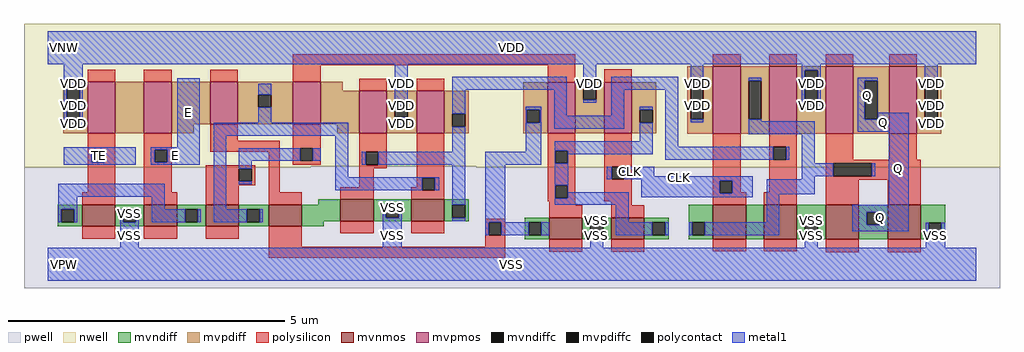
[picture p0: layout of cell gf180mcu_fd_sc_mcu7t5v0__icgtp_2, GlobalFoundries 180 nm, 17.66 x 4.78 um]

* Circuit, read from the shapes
.subckt gf180mcu_fd_sc_mcu7t5v0__icgtp_2 CLK E TE Q VDD VNW VPW VSS
XM1 VSS TE n1 VPW nfet_06v0 w=0.395u l=0.6u
XM2 n1 E VSS VPW nfet_06v0 w=0.395u l=0.6u
XM3 n2 n3 n1 VPW nfet_06v0 w=0.395u l=0.6u
XM4 n4 n5 n2 VPW nfet_06v0 w=0.395u l=0.6u
XM5 VSS n6 n4 VPW nfet_06v0 w=0.395u l=0.6u
XM6 n6 n2 VSS VPW nfet_06v0 w=0.395u l=0.6u
XM7 VSS n3 n5 VPW nfet_06v0 w=0.39u l=0.6u
XM8 n3 CLK VSS VPW nfet_06v0 w=0.39u l=0.6u
XM9 n7 CLK n8 VPW nfet_06v0 w=0.625u l=0.6u
XM10 VSS n6 n7 VPW nfet_06v0 w=0.625u l=0.6u
XM11 Q n8 VSS VPW nfet_06v0 w=0.625u l=0.6u m=2
XM12 n9 TE VDD VNW pfet_06v0 w=0.925u l=0.5u
XM13 n10 E n9 VNW pfet_06v0 w=0.925u l=0.5u
XM14 n2 n5 n10 VNW pfet_06v0 w=0.765u l=0.5u
XM15 n11 n3 n2 VNW pfet_06v0 w=0.765u l=0.5u
XM16 VDD n6 n11 VNW pfet_06v0 w=0.765u l=0.5u
XM17 n6 n2 VDD VNW pfet_06v0 w=0.765u l=0.5u
XM18 VDD n3 n5 VNW pfet_06v0 w=0.92u l=0.5u
XM19 n3 CLK VDD VNW pfet_06v0 w=0.92u l=0.5u
XM20 n8 CLK VDD VNW pfet_06v0 w=1.22u l=0.5u
XM21 VDD n6 n8 VNW pfet_06v0 w=1.22u l=0.5u
XM22 Q n8 VDD VNW pfet_06v0 w=1.22u l=0.5u m=2
.ends

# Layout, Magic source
magic
tech gf180mcuD
magscale 1 10
<< nwell >>
rect -86 355 3446 870
rect -86 352 952 355
rect 1550 352 3446 355
<< pwell >>
rect 952 352 1550 355
rect -86 -86 3446 352
<< mvnmos >>
rect 124 137 244 216
rect 348 137 468 216
rect 572 137 692 216
rect 799 137 919 216
rect 1059 156 1179 235
rect 1315 156 1435 235
rect 1815 91 1935 169
rect 2039 91 2159 169
rect 2407 91 2527 216
rect 2591 91 2711 216
rect 2815 91 2935 216
rect 3039 91 3159 216
<< mvpmos >>
rect 144 475 244 660
rect 348 475 448 660
rect 588 507 688 660
rect 887 507 987 660
rect 1127 475 1227 628
rect 1335 475 1435 628
rect 1809 475 1909 659
rect 2014 475 2114 659
rect 2407 472 2507 716
rect 2611 472 2711 716
rect 2815 472 2915 716
rect 3045 472 3145 716
<< mvndiff >>
rect 979 216 1059 235
rect 36 199 124 216
rect 36 153 49 199
rect 95 153 124 199
rect 36 137 124 153
rect 244 199 348 216
rect 244 153 273 199
rect 319 153 348 199
rect 244 137 348 153
rect 468 199 572 216
rect 468 153 497 199
rect 543 153 572 199
rect 468 137 572 153
rect 692 199 799 216
rect 692 153 721 199
rect 767 153 799 199
rect 692 137 799 153
rect 919 156 1059 216
rect 1179 215 1315 235
rect 1179 169 1224 215
rect 1270 169 1315 215
rect 1179 156 1315 169
rect 1435 215 1523 235
rect 1435 169 1464 215
rect 1510 169 1523 215
rect 1435 156 1523 169
rect 919 137 999 156
rect 1727 152 1815 169
rect 1727 106 1740 152
rect 1786 106 1815 152
rect 1727 91 1815 106
rect 1935 152 2039 169
rect 1935 106 1964 152
rect 2010 106 2039 152
rect 1935 91 2039 106
rect 2159 152 2247 169
rect 2159 106 2188 152
rect 2234 106 2247 152
rect 2159 91 2247 106
rect 2319 152 2407 216
rect 2319 106 2332 152
rect 2378 106 2407 152
rect 2319 91 2407 106
rect 2527 91 2591 216
rect 2711 150 2815 216
rect 2711 104 2740 150
rect 2786 104 2815 150
rect 2711 91 2815 104
rect 2935 189 3039 216
rect 2935 143 2964 189
rect 3010 143 3039 189
rect 2935 91 3039 143
rect 3159 150 3247 216
rect 3159 104 3188 150
rect 3234 104 3247 150
rect 3159 91 3247 104
<< mvpdiff >>
rect 56 647 144 660
rect 56 507 69 647
rect 115 507 144 647
rect 56 475 144 507
rect 244 475 348 660
rect 448 507 588 660
rect 688 614 887 660
rect 688 568 762 614
rect 808 568 887 614
rect 688 507 887 568
rect 987 628 1067 660
rect 2314 665 2407 716
rect 987 507 1127 628
rect 448 475 528 507
rect 1047 475 1127 507
rect 1227 578 1335 628
rect 1227 532 1256 578
rect 1302 532 1335 578
rect 1227 475 1335 532
rect 1435 544 1523 628
rect 1435 498 1464 544
rect 1510 498 1523 544
rect 1435 475 1523 498
rect 1721 559 1809 659
rect 1721 513 1734 559
rect 1780 513 1809 559
rect 1721 475 1809 513
rect 1909 641 2014 659
rect 1909 595 1938 641
rect 1984 595 2014 641
rect 1909 475 2014 595
rect 2114 559 2202 659
rect 2114 513 2143 559
rect 2189 513 2202 559
rect 2114 475 2202 513
rect 2314 525 2327 665
rect 2373 525 2407 665
rect 2314 472 2407 525
rect 2507 665 2611 716
rect 2507 525 2536 665
rect 2582 525 2611 665
rect 2507 472 2611 525
rect 2711 703 2815 716
rect 2711 563 2740 703
rect 2786 563 2815 703
rect 2711 472 2815 563
rect 2915 665 3045 716
rect 2915 525 2957 665
rect 3003 525 3045 665
rect 2915 472 3045 525
rect 3145 665 3233 716
rect 3145 525 3174 665
rect 3220 525 3233 665
rect 3145 472 3233 525
<< mvndiffc >>
rect 49 153 95 199
rect 273 153 319 199
rect 497 153 543 199
rect 721 153 767 199
rect 1224 169 1270 215
rect 1464 169 1510 215
rect 1740 106 1786 152
rect 1964 106 2010 152
rect 2188 106 2234 152
rect 2332 106 2378 152
rect 2740 104 2786 150
rect 2964 143 3010 189
rect 3188 104 3234 150
<< mvpdiffc >>
rect 69 507 115 647
rect 762 568 808 614
rect 1256 532 1302 578
rect 1464 498 1510 544
rect 1734 513 1780 559
rect 1938 595 1984 641
rect 2143 513 2189 559
rect 2327 525 2373 665
rect 2536 525 2582 665
rect 2740 563 2786 703
rect 2957 525 3003 665
rect 3174 525 3220 665
<< polysilicon >>
rect 887 720 1909 760
rect 144 660 244 704
rect 348 660 448 704
rect 588 660 688 704
rect 887 660 987 720
rect 1127 628 1227 672
rect 1335 628 1435 672
rect 1809 659 1909 720
rect 2407 716 2507 760
rect 2611 716 2711 760
rect 2815 716 2915 760
rect 3045 716 3145 760
rect 2014 659 2114 706
rect 144 415 244 475
rect 144 369 159 415
rect 205 369 244 415
rect 144 260 244 369
rect 124 216 244 260
rect 348 415 448 475
rect 348 369 387 415
rect 433 369 448 415
rect 588 447 688 507
rect 588 407 839 447
rect 348 260 448 369
rect 572 346 751 359
rect 572 300 692 346
rect 738 300 751 346
rect 572 287 751 300
rect 348 216 468 260
rect 572 216 692 287
rect 799 260 839 407
rect 887 420 987 507
rect 887 374 913 420
rect 959 374 987 420
rect 887 361 987 374
rect 1127 407 1227 475
rect 1127 361 1150 407
rect 1196 361 1227 407
rect 1127 348 1227 361
rect 1127 279 1179 348
rect 1335 314 1435 475
rect 1335 279 1355 314
rect 799 216 919 260
rect 1059 235 1179 279
rect 1315 268 1355 279
rect 1401 268 1435 314
rect 1315 235 1435 268
rect 1809 411 1909 475
rect 1809 365 1836 411
rect 1882 365 1909 411
rect 1809 286 1909 365
rect 1809 240 1836 286
rect 1882 240 1909 286
rect 1809 229 1909 240
rect 2014 353 2114 475
rect 2014 307 2041 353
rect 2087 307 2114 353
rect 2014 229 2114 307
rect 1815 214 1909 229
rect 2039 214 2114 229
rect 2407 303 2507 472
rect 2407 257 2431 303
rect 2477 260 2507 303
rect 2611 425 2711 472
rect 2611 379 2626 425
rect 2672 379 2711 425
rect 2611 260 2711 379
rect 2477 257 2527 260
rect 2407 216 2527 257
rect 2591 216 2711 260
rect 2815 378 2915 472
rect 3045 378 3145 472
rect 2815 365 3159 378
rect 2815 319 2842 365
rect 2982 319 3159 365
rect 2815 306 3159 319
rect 2815 216 2935 306
rect 3039 216 3159 306
rect 1815 169 1935 214
rect 2039 169 2159 214
rect 124 92 244 137
rect 348 92 468 137
rect 572 93 692 137
rect 799 64 919 137
rect 1059 112 1179 156
rect 1315 112 1435 156
rect 1583 152 1655 165
rect 1583 106 1596 152
rect 1642 106 1655 152
rect 1583 64 1655 106
rect 799 24 1655 64
rect 1815 46 1935 91
rect 2039 46 2159 91
rect 2407 47 2527 91
rect 2591 47 2711 91
rect 2815 44 2935 91
rect 3039 44 3159 91
<< polycontact >>
rect 159 369 205 415
rect 387 369 433 415
rect 692 300 738 346
rect 913 374 959 420
rect 1150 361 1196 407
rect 1355 268 1401 314
rect 1836 365 1882 411
rect 1836 240 1882 286
rect 2041 307 2087 353
rect 2431 257 2477 303
rect 2626 379 2672 425
rect 2842 319 2982 365
rect 1596 106 1642 152
<< metal1 >>
rect 0 724 3360 844
rect 58 647 126 724
rect 58 507 69 647
rect 115 507 126 647
rect 468 424 550 674
rect 762 614 808 653
rect 762 512 808 568
rect 1256 578 1302 724
rect 58 415 318 424
rect 58 369 159 415
rect 205 369 318 415
rect 58 360 318 369
rect 373 415 550 424
rect 373 369 387 415
rect 433 369 550 415
rect 373 360 550 369
rect 600 466 1087 512
rect 1256 501 1302 532
rect 1464 632 1879 678
rect 1464 544 1510 632
rect 38 245 423 292
rect 38 199 106 245
rect 377 199 423 245
rect 600 199 646 466
rect 692 374 913 420
rect 959 374 987 420
rect 692 346 738 374
rect 692 289 738 300
rect 1041 315 1087 466
rect 1464 407 1510 498
rect 1729 559 1786 570
rect 1729 513 1734 559
rect 1780 513 1786 559
rect 1729 407 1786 513
rect 1833 538 1879 632
rect 1938 641 1984 724
rect 1938 584 1984 595
rect 2040 632 2281 678
rect 2040 538 2086 632
rect 1833 491 2086 538
rect 2143 559 2189 570
rect 2143 445 2189 513
rect 1137 361 1150 407
rect 1196 361 1510 407
rect 1041 314 1416 315
rect 1041 268 1355 314
rect 1401 268 1416 314
rect 1464 215 1510 361
rect 38 153 49 199
rect 95 153 106 199
rect 262 153 273 199
rect 319 153 330 199
rect 377 153 497 199
rect 543 153 554 199
rect 600 153 721 199
rect 767 153 778 199
rect 1213 169 1224 215
rect 1270 169 1281 215
rect 262 60 330 153
rect 1213 60 1281 169
rect 1464 156 1510 169
rect 1583 361 1786 407
rect 1835 411 2189 445
rect 1835 365 1836 411
rect 1882 399 2189 411
rect 2235 425 2281 632
rect 2327 665 2373 724
rect 2729 703 2797 724
rect 2327 514 2373 525
rect 2536 665 2582 676
rect 2729 563 2740 703
rect 2786 563 2797 703
rect 2932 665 3004 676
rect 2536 517 2582 525
rect 2932 525 2957 665
rect 3003 548 3004 665
rect 3174 665 3220 724
rect 3003 525 3116 548
rect 2536 471 2775 517
rect 2932 480 3116 525
rect 3174 506 3220 525
rect 1882 365 1883 399
rect 2235 379 2626 425
rect 2672 379 2683 425
rect 1583 152 1655 361
rect 1835 286 1883 365
rect 2729 365 2775 471
rect 2022 307 2041 353
rect 2087 318 2194 353
rect 2729 319 2842 365
rect 2982 319 2994 365
rect 2087 307 2551 318
rect 2729 307 2775 319
rect 1835 240 1836 286
rect 1882 261 1883 286
rect 2148 303 2551 307
rect 1882 240 2102 261
rect 2148 257 2431 303
rect 2477 257 2551 303
rect 2148 242 2551 257
rect 2602 253 2775 307
rect 1835 215 2102 240
rect 1964 152 2010 169
rect 1583 106 1596 152
rect 1642 106 1740 152
rect 1786 106 1815 152
rect 2056 152 2102 215
rect 2602 152 2648 253
rect 3044 216 3116 480
rect 2911 189 3116 216
rect 2056 106 2188 152
rect 2234 106 2247 152
rect 2319 106 2332 152
rect 2378 106 2648 152
rect 2740 150 2786 169
rect 1964 60 2010 106
rect 2911 143 2964 189
rect 3010 143 3116 189
rect 2911 120 3116 143
rect 2740 60 2786 104
rect 3177 104 3188 150
rect 3234 104 3247 150
rect 3177 60 3247 104
rect 0 -60 3360 60
<< labels >>
flabel metal1 s 2932 548 3004 676 0 FreeSans 400 0 0 0 Q
port 4 nsew default output
flabel metal1 s 58 360 318 424 0 FreeSans 400 0 0 0 TE
port 3 nsew default input
flabel metal1 s 0 724 3360 844 0 FreeSans 400 0 0 0 VDD
port 5 nsew power bidirectional abutment
flabel metal1 s 1213 199 1281 215 0 FreeSans 400 0 0 0 VSS
port 8 nsew ground bidirectional abutment
flabel metal1 s 2022 318 2194 353 0 FreeSans 400 0 0 0 CLK
port 1 nsew clock input
flabel metal1 s 468 424 550 674 0 FreeSans 400 0 0 0 E
port 2 nsew default input
flabel nwell s 10 734 110 834 0 FreeSans 400 0 0 0 VNW
port 6 nsew power bidirectional
flabel pwell s 10 -50 110 50 0 FreeSans 400 0 0 0 VPW
port 7 nsew ground bidirectional
rlabel metal1 s 2022 307 2551 318 1 CLK
port 1 nsew clock input
rlabel metal1 s 2148 242 2551 307 1 CLK
port 1 nsew clock input
rlabel metal1 s 373 360 550 424 1 E
port 2 nsew default input
rlabel metal1 s 2932 480 3116 548 1 Q
port 4 nsew default output
rlabel metal1 s 3044 216 3116 480 1 Q
port 4 nsew default output
rlabel metal1 s 2911 120 3116 216 1 Q
port 4 nsew default output
rlabel metal1 s 3174 584 3220 724 1 VDD
port 5 nsew power bidirectional abutment
rlabel metal1 s 2729 584 2797 724 1 VDD
port 5 nsew power bidirectional abutment
rlabel metal1 s 2327 584 2373 724 1 VDD
port 5 nsew power bidirectional abutment
rlabel metal1 s 1938 584 1984 724 1 VDD
port 5 nsew power bidirectional abutment
rlabel metal1 s 1256 584 1302 724 1 VDD
port 5 nsew power bidirectional abutment
rlabel metal1 s 58 584 126 724 1 VDD
port 5 nsew power bidirectional abutment
rlabel metal1 s 3174 563 3220 584 1 VDD
port 5 nsew power bidirectional abutment
rlabel metal1 s 2729 563 2797 584 1 VDD
port 5 nsew power bidirectional abutment
rlabel metal1 s 2327 563 2373 584 1 VDD
port 5 nsew power bidirectional abutment
rlabel metal1 s 1256 563 1302 584 1 VDD
port 5 nsew power bidirectional abutment
rlabel metal1 s 58 563 126 584 1 VDD
port 5 nsew power bidirectional abutment
rlabel metal1 s 3174 514 3220 563 1 VDD
port 5 nsew power bidirectional abutment
rlabel metal1 s 2327 514 2373 563 1 VDD
port 5 nsew power bidirectional abutment
rlabel metal1 s 1256 514 1302 563 1 VDD
port 5 nsew power bidirectional abutment
rlabel metal1 s 58 514 126 563 1 VDD
port 5 nsew power bidirectional abutment
rlabel metal1 s 3174 507 3220 514 1 VDD
port 5 nsew power bidirectional abutment
rlabel metal1 s 1256 507 1302 514 1 VDD
port 5 nsew power bidirectional abutment
rlabel metal1 s 58 507 126 514 1 VDD
port 5 nsew power bidirectional abutment
rlabel metal1 s 3174 506 3220 507 1 VDD
port 5 nsew power bidirectional abutment
rlabel metal1 s 1256 506 1302 507 1 VDD
port 5 nsew power bidirectional abutment
rlabel metal1 s 1256 501 1302 506 1 VDD
port 5 nsew power bidirectional abutment
rlabel metal1 s 1213 169 1281 199 1 VSS
port 8 nsew ground bidirectional abutment
rlabel metal1 s 262 169 330 199 1 VSS
port 8 nsew ground bidirectional abutment
rlabel metal1 s 2740 150 2786 169 1 VSS
port 8 nsew ground bidirectional abutment
rlabel metal1 s 1964 150 2010 169 1 VSS
port 8 nsew ground bidirectional abutment
rlabel metal1 s 1213 150 1281 169 1 VSS
port 8 nsew ground bidirectional abutment
rlabel metal1 s 262 150 330 169 1 VSS
port 8 nsew ground bidirectional abutment
rlabel metal1 s 3177 60 3247 150 1 VSS
port 8 nsew ground bidirectional abutment
rlabel metal1 s 2740 60 2786 150 1 VSS
port 8 nsew ground bidirectional abutment
rlabel metal1 s 1964 60 2010 150 1 VSS
port 8 nsew ground bidirectional abutment
rlabel metal1 s 1213 60 1281 150 1 VSS
port 8 nsew ground bidirectional abutment
rlabel metal1 s 262 60 330 150 1 VSS
port 8 nsew ground bidirectional abutment
rlabel metal1 s 0 -60 3360 60 1 VSS
port 8 nsew ground bidirectional abutment
<< properties >>
string FIXED_BBOX 0 0 3360 784
string GDS_END 465736
string GDS_FILE $PDKPATH/libs.ref/gf180mcu_fd_sc_mcu7t5v0/gds/gf180mcu_fd_sc_mcu7t5v0.gds
string GDS_START 458070
string LEFclass core
string LEFsite GF018hv5v_mcu_sc7
string LEFsymmetry X Y
<< end >>
